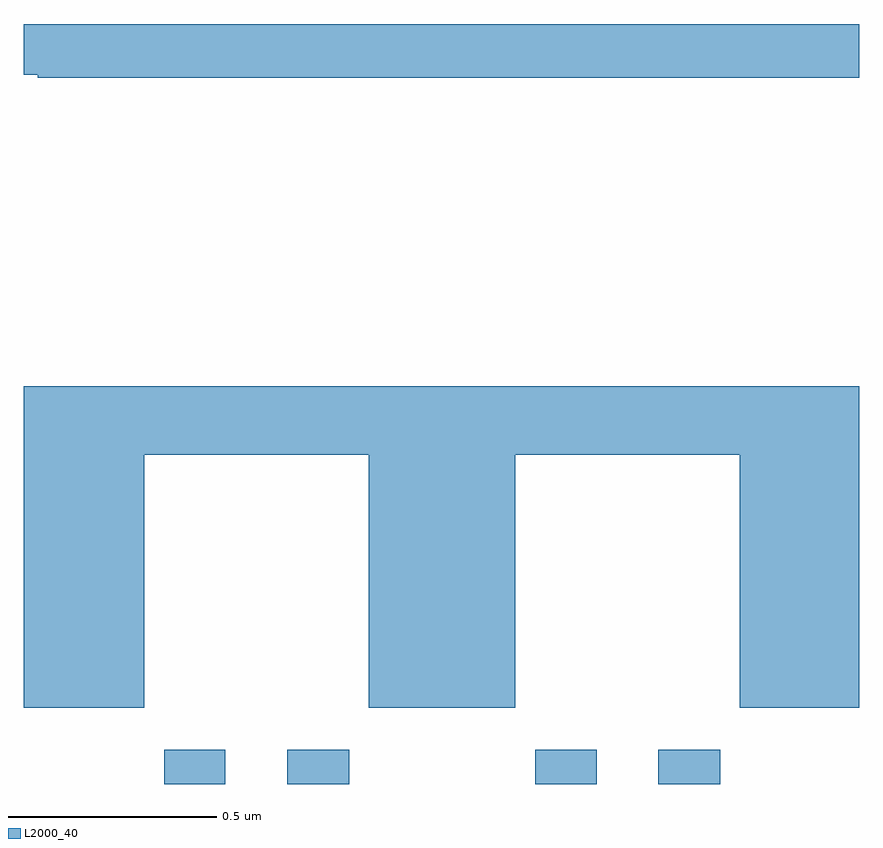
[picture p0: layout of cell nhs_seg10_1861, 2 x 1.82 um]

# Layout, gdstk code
import gdstk
lib = gdstk.Library(unit=1e-6, precision=1e-09)
def R(c, l, rs):  # rectangles x0, y0, x1, y1
    for r in rs: c.add(gdstk.rectangle(r[:2], r[2:], *l))
def P(c, l, *ps):  # polygons
    for p in ps: c.add(gdstk.Polygon(p, *l))
L2000_40 = (2000, 40)

nhs_seg10_1861 = lib.new_cell('nhs_seg10_1861')
R(nhs_seg10_1861, L2000_40, [(133.336,1327.5,133.483,1327.582), (133.631,1327.5,133.779,1327.582), (134.224,1327.5,134.371,1327.582), (134.519,1327.5,134.667,1327.582)])
P(nhs_seg10_1861, L2000_40, [(135,1329.319),(133,1329.319),(133,1329.198),(133.034,1329.198),(133.034,1329.19),(135,1329.19)],
  [(133.288,1328.288),(133.826,1328.288),(133.826,1327.682),(134.176,1327.682),(134.176,1328.288),(134.714,1328.288),(134.714,1327.682),(135,1327.682),(135,1328.452),(133,1328.452),(133,1327.682),(133.288,1327.682)])

lib.write_gds('nhs_seg10_1861.gds')
